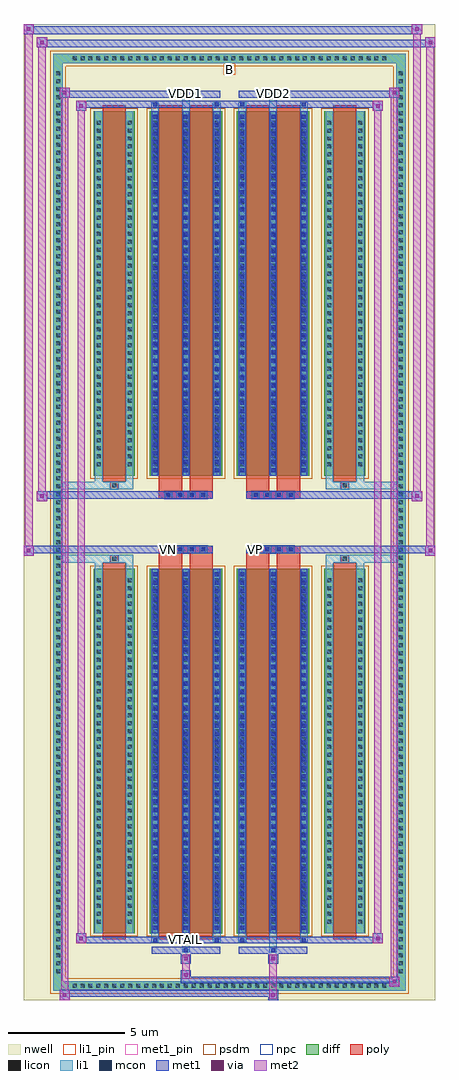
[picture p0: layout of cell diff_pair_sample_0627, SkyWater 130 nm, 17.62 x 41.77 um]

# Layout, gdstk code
import gdstk
lib = gdstk.Library(unit=1e-6, precision=5e-09)
def R(c, l, rs):  # rectangles x0, y0, x1, y1
    for r in rs: c.add(gdstk.rectangle(r[:2], r[2:], *l))
def A(c, l, x, y, w, h, nx, ny, dx, dy):  # array of equal rectangles
    R(c, l, [(x+i*dx, y+j*dy, x+i*dx+w, y+j*dy+h) for i in range(nx) for j in range(ny)])
def P(c, l, *ps):  # polygons
    for p in ps: c.add(gdstk.Polygon(p, *l))
nwell = (64, 20)
diff = (65, 20)
poly = (66, 20)
licon = (66, 44)
li1_pin = (67, 16)
li1 = (67, 20)
mcon = (67, 44)
met1_pin = (68, 16)
met1 = (68, 20)
via = (68, 44)
met2 = (69, 20)
psdm = (94, 20)
npc = (95, 20)

diff_pair_sample_0627 = lib.new_cell('diff_pair_sample_0627')
R(diff_pair_sample_0627, nwell, [(-8.81,-20.45,8.81,21.32), (-6.13,-18.64,-0.01,-0.8), (0.01,-18.64,6.13,-0.8), (-6.13,0.8,-0.01,18.64), (0.01,0.8,6.13,18.64)])
A(diff_pair_sample_0627, diff, -6.835, -20.05, 0.41, 0.41, 40, 2, 0.34, 39.69)
A(diff_pair_sample_0627, diff, -7.54, -19.415, 0.41, 0.41, 1, 114, 0, 0.34)
A(diff_pair_sample_0627, diff, 7.13, -19.415, 0.41, 0.41, 1, 114, 0, 0.34)
R(diff_pair_sample_0627, diff, [(-6.835,-20.05,6.835,-19.64), (-7.54,-19.415,-7.13,19.415), (7.13,-19.415,7.54,19.415), (-5.82,-17.595,-4.05,-1.985), (-3.41,-17.595,-0.32,-1.985), (0.32,-17.595,3.41,-1.985), (4.05,-17.595,5.82,-1.985), (-5.82,1.985,-4.05,17.595), (-3.41,1.985,-0.32,17.595), (0.32,1.985,3.41,17.595), (4.05,1.985,5.82,17.595), (-6.835,19.64,6.835,20.05)])
P(diff_pair_sample_0627, diff, [(7.54,20.05),(-7.54,20.05),(-7.54,-19.64),(-7.13,-19.64),(-7.13,19.64),(7.13,19.64),(7.13,-19.64),(-7.13,-19.64),(-7.54,-19.64),(-7.54,-20.05),(7.54,-20.05)])
A(diff_pair_sample_0627, poly, -2.78, -1.33, 0.33, 0.33, 4, 2, 0.5, 2.33)
A(diff_pair_sample_0627, poly, 0.95, -1.33, 0.33, 0.33, 4, 2, 0.5, 2.33)
R(diff_pair_sample_0627, poly, [(-5.43,-17.845,-4.44,-1.735), (-3.02,-17.845,-2.03,-1.735), (-1.7,-17.845,-0.71,-1.735), (0.71,-17.845,1.7,-1.735), (2.03,-17.845,3.02,-1.735), (4.44,-17.845,5.43,-1.735), (-5.1,-1.735,-4.77,-1.405), (-5.1,-1.735,-4.77,-1.405), (-3.02,-1.735,-2.03,-1.33), (-1.7,-1.735,-0.71,-1.33), (0.71,-1.735,1.7,-1.33), (2.03,-1.735,3.02,-1.33), (4.77,-1.735,5.1,-1.405), (4.77,-1.735,5.1,-1.405), (-3.02,-1.33,-0.71,-1), (0.71,-1.33,3.02,-1), (-3.02,1,-0.71,1.33), (0.71,1,3.02,1.33), (-3.02,1.33,-2.03,1.735), (-1.7,1.33,-0.71,1.735), (0.71,1.33,1.7,1.735), (2.03,1.33,3.02,1.735), (-5.1,1.405,-4.77,1.735), (-5.1,1.405,-4.77,1.735), (4.77,1.405,5.1,1.735), (4.77,1.405,5.1,1.735), (-5.43,1.735,-4.44,17.845), (-3.02,1.735,-2.03,17.845), (-1.7,1.735,-0.71,17.845), (0.71,1.735,1.7,17.845), (2.03,1.735,3.02,17.845), (4.44,1.735,5.43,17.845)])
A(diff_pair_sample_0627, licon, -6.715, -19.93, 0.17, 0.17, 40, 2, 0.34, 39.69)
A(diff_pair_sample_0627, licon, -7.42, -19.295, 0.17, 0.17, 1, 114, 0, 0.34)
A(diff_pair_sample_0627, licon, 7.25, -19.295, 0.17, 0.17, 1, 114, 0, 0.34)
A(diff_pair_sample_0627, licon, -5.68, -17.185, 0.17, 0.17, 1, 44, 0, 0.34)
A(diff_pair_sample_0627, licon, -4.36, -17.185, 0.17, 0.17, 1, 44, 0, 0.34)
A(diff_pair_sample_0627, licon, -3.27, -17.185, 0.17, 0.17, 3, 44, 1.32, 0.34)
A(diff_pair_sample_0627, licon, 0.46, -17.185, 0.17, 0.17, 3, 44, 1.32, 0.34)
A(diff_pair_sample_0627, licon, 4.19, -17.185, 0.17, 0.17, 1, 44, 0, 0.34)
A(diff_pair_sample_0627, licon, 5.51, -17.185, 0.17, 0.17, 1, 44, 0, 0.34)
A(diff_pair_sample_0627, licon, -2.7, -1.25, 0.17, 0.17, 4, 2, 0.5, 2.33)
A(diff_pair_sample_0627, licon, 1.03, -1.25, 0.17, 0.17, 4, 2, 0.5, 2.33)
A(diff_pair_sample_0627, licon, -5.68, 2.395, 0.17, 0.17, 1, 44, 0, 0.34)
A(diff_pair_sample_0627, licon, -4.36, 2.395, 0.17, 0.17, 1, 44, 0, 0.34)
A(diff_pair_sample_0627, licon, -3.27, 2.395, 0.17, 0.17, 3, 44, 1.32, 0.34)
A(diff_pair_sample_0627, licon, 0.46, 2.395, 0.17, 0.17, 3, 44, 1.32, 0.34)
A(diff_pair_sample_0627, licon, 4.19, 2.395, 0.17, 0.17, 1, 44, 0, 0.34)
A(diff_pair_sample_0627, licon, 5.51, 2.395, 0.17, 0.17, 1, 44, 0, 0.34)
R(diff_pair_sample_0627, licon, [(-5.02,-1.655,-4.85,-1.485), (4.85,-1.655,5.02,-1.485), (-5.02,1.485,-4.85,1.655), (4.85,1.485,5.02,1.655)])
R(diff_pair_sample_0627, li1_pin, [(-0.25,19.14,0.25,19.64)])
A(diff_pair_sample_0627, li1, -6.795, -20.01, 0.33, 0.33, 40, 2, 0.34, 39.69)
A(diff_pair_sample_0627, li1, -7.5, -19.375, 0.33, 0.33, 1, 114, 0, 0.34)
A(diff_pair_sample_0627, li1, 7.17, -19.375, 0.33, 0.33, 1, 114, 0, 0.34)
A(diff_pair_sample_0627, li1, -3.35, -17.595, 0.33, 15.61, 3, 2, 1.32, 19.58)
A(diff_pair_sample_0627, li1, 0.38, -17.595, 0.33, 15.61, 3, 2, 1.32, 19.58)
A(diff_pair_sample_0627, li1, -3.27, -17.435, 0.17, 0.17, 3, 43, 1.32, 0.36)
A(diff_pair_sample_0627, li1, -3.27, -17.435, 0.17, 15.29, 3, 2, 1.32, 19.58)
A(diff_pair_sample_0627, li1, 0.46, -17.435, 0.17, 0.17, 3, 43, 1.32, 0.36)
A(diff_pair_sample_0627, li1, 0.46, -17.435, 0.17, 15.29, 3, 2, 1.32, 19.58)
A(diff_pair_sample_0627, li1, -5.76, -17.265, 0.33, 0.33, 1, 44, 0, 0.34)
A(diff_pair_sample_0627, li1, -4.44, -17.265, 0.33, 0.33, 1, 44, 0, 0.34)
A(diff_pair_sample_0627, li1, -3.35, -17.265, 0.33, 0.33, 3, 44, 1.32, 0.34)
A(diff_pair_sample_0627, li1, 0.38, -17.265, 0.33, 0.33, 3, 44, 1.32, 0.34)
A(diff_pair_sample_0627, li1, 4.11, -17.265, 0.33, 0.33, 1, 44, 0, 0.34)
A(diff_pair_sample_0627, li1, 5.43, -17.265, 0.33, 0.33, 1, 44, 0, 0.34)
A(diff_pair_sample_0627, li1, -2.78, -1.33, 0.33, 0.33, 4, 2, 0.5, 2.33)
A(diff_pair_sample_0627, li1, 0.95, -1.33, 0.33, 0.33, 4, 2, 0.5, 2.33)
A(diff_pair_sample_0627, li1, -3.27, 2.145, 0.17, 0.17, 3, 43, 1.32, 0.36)
A(diff_pair_sample_0627, li1, 0.46, 2.145, 0.17, 0.17, 3, 43, 1.32, 0.36)
A(diff_pair_sample_0627, li1, -5.76, 2.315, 0.33, 0.33, 1, 44, 0, 0.34)
A(diff_pair_sample_0627, li1, -4.44, 2.315, 0.33, 0.33, 1, 44, 0, 0.34)
A(diff_pair_sample_0627, li1, -3.35, 2.315, 0.33, 0.33, 3, 44, 1.32, 0.34)
A(diff_pair_sample_0627, li1, 0.38, 2.315, 0.33, 0.33, 3, 44, 1.32, 0.34)
A(diff_pair_sample_0627, li1, 4.11, 2.315, 0.33, 0.33, 1, 44, 0, 0.34)
A(diff_pair_sample_0627, li1, 5.43, 2.315, 0.33, 0.33, 1, 44, 0, 0.34)
R(diff_pair_sample_0627, li1, [(-7.54,-20.05,-7.13,-19.64), (-7.54,-20.05,-7.13,-19.64), (-7.13,-20.05,7.13,-19.64), (7.13,-20.05,7.54,-19.64), (7.13,-20.05,7.54,-19.64), (-7.54,-19.64,-7.13,19.64), (7.13,-19.64,7.54,19.64), (-2.03,-18.4,-1.7,-17.595), (-1.95,-18.4,-1.78,-18.23), (1.7,-18.4,2.03,-17.595), (1.78,-18.4,1.95,-18.23), (-3.35,-17.97,-3.02,-17.595), (-3.27,-17.97,-3.1,-17.8), (-0.71,-17.97,-0.38,-17.595), (-0.63,-17.97,-0.46,-17.8), (0.38,-17.97,0.71,-17.595), (0.46,-17.97,0.63,-17.8), (3.02,-17.97,3.35,-17.595), (3.1,-17.97,3.27,-17.8), (-5.76,-17.595,-5.43,-1.985), (-4.44,-17.595,-4.11,-1.985), (4.11,-17.595,4.44,-1.985), (5.43,-17.595,5.76,-1.985), (-5.76,-1.985,-5.43,-1.405), (-4.44,-1.985,-4.11,-1.405), (4.11,-1.985,4.44,-1.405), (5.43,-1.985,5.76,-1.405), (-7.54,-1.735,-5.1,-1.405), (-5.76,-1.735,-5.1,-1.405), (-5.1,-1.735,-4.77,-1.405), (-4.77,-1.735,-4.11,-1.405), (4.11,-1.735,4.77,-1.405), (4.77,-1.735,5.1,-1.405), (4.77,-1.735,7.54,-1.405), (5.1,-1.735,5.76,-1.405), (-7.54,1.405,-5.1,1.735), (-5.76,1.405,-5.1,1.735), (-5.76,1.405,-5.43,1.985), (-5.1,1.405,-4.77,1.735), (-4.77,1.405,-4.11,1.735), (-4.44,1.405,-4.11,1.985), (4.11,1.405,4.77,1.735), (4.11,1.405,4.44,1.985), (4.77,1.405,5.1,1.735), (4.77,1.405,7.54,1.735), (5.1,1.405,5.76,1.735), (5.43,1.405,5.76,1.985), (-5.76,1.985,-5.43,17.595), (-4.44,1.985,-4.11,17.595), (4.11,1.985,4.44,17.595), (5.43,1.985,5.76,17.595), (-3.35,17.595,-3.02,17.97), (-2.03,17.595,-1.7,18.4), (-0.71,17.595,-0.38,17.97), (0.38,17.595,0.71,17.97), (1.7,17.595,2.03,18.4), (3.02,17.595,3.35,17.97), (-3.27,17.8,-3.1,17.97), (-0.63,17.8,-0.46,17.97), (0.46,17.8,0.63,17.97), (3.1,17.8,3.27,17.97), (-1.95,18.23,-1.78,18.4), (1.78,18.23,1.95,18.4), (-7.54,19.64,-7.13,20.05), (-7.54,19.64,-7.13,20.05), (-7.13,19.64,7.13,20.05), (7.13,19.64,7.54,20.05), (7.13,19.64,7.54,20.05)])
A(diff_pair_sample_0627, mcon, -3.27, -17.435, 0.17, 0.17, 3, 43, 1.32, 0.36)
A(diff_pair_sample_0627, mcon, 0.46, -17.435, 0.17, 0.17, 3, 43, 1.32, 0.36)
A(diff_pair_sample_0627, mcon, -2.7, -1.25, 0.17, 0.17, 4, 2, 0.5, 2.33)
A(diff_pair_sample_0627, mcon, 1.03, -1.25, 0.17, 0.17, 4, 2, 0.5, 2.33)
A(diff_pair_sample_0627, mcon, -3.27, 2.145, 0.17, 0.17, 3, 43, 1.32, 0.36)
A(diff_pair_sample_0627, mcon, 0.46, 2.145, 0.17, 0.17, 3, 43, 1.32, 0.36)
R(diff_pair_sample_0627, mcon, [(-1.95,-18.4,-1.78,-18.23), (1.78,-18.4,1.95,-18.23), (-3.27,-17.97,-3.1,-17.8), (-0.63,-17.97,-0.46,-17.8), (0.46,-17.97,0.63,-17.8), (3.1,-17.97,3.27,-17.8), (-3.27,17.8,-3.1,17.97), (-0.63,17.8,-0.46,17.97), (0.46,17.8,0.63,17.97), (3.1,17.8,3.27,17.97), (-1.95,18.23,-1.78,18.4), (1.78,18.23,1.95,18.4)])
R(diff_pair_sample_0627, met1_pin, [(-2,-18.01,-1.73,-17.74), (-2.75,-1.29,-2.48,-1.02), (0.98,-1.29,1.25,-1.02), (-2,18.19,-1.73,18.46), (1.73,18.19,2,18.46)])
A(diff_pair_sample_0627, met1, -3.33, -17.595, 0.29, 15.61, 3, 2, 1.32, 19.58)
A(diff_pair_sample_0627, met1, 0.4, -17.595, 0.29, 15.61, 3, 2, 1.32, 19.58)
A(diff_pair_sample_0627, met1, -3.33, -17.495, 0.29, 0.29, 3, 43, 1.32, 0.36)
A(diff_pair_sample_0627, met1, 0.4, -17.495, 0.29, 0.29, 3, 43, 1.32, 0.36)
A(diff_pair_sample_0627, met1, -2.76, -1.31, 0.29, 0.29, 4, 2, 0.5, 2.33)
A(diff_pair_sample_0627, met1, 0.97, -1.31, 0.29, 0.29, 4, 2, 0.5, 2.33)
A(diff_pair_sample_0627, met1, -3.33, 2.085, 0.29, 0.29, 3, 43, 1.32, 0.36)
A(diff_pair_sample_0627, met1, 0.4, 2.085, 0.29, 0.29, 3, 43, 1.32, 0.36)
R(diff_pair_sample_0627, met1, [(-7.27,-20.45,-6.84,-20.02), (1.65,-20.45,2.08,-20.02), (-7.27,-20.31,2.08,-20.02), (6.84,-19.88,7.27,-19.45), (-2.08,-19.74,7.27,-19.45), (-2.08,-19.6,-1.65,-19.17), (-2.08,-18.89,-1.65,-18.46), (1.65,-18.89,2.08,-18.46), (-3.33,-18.46,-0.4,-18.17), (-2.01,-18.46,-1.72,-18.17), (0.4,-18.46,3.33,-18.17), (1.72,-18.46,2.01,-18.17), (-6.56,-18.03,-6.13,-17.6), (-6.56,-18.03,-3.33,-17.74), (-3.33,-18.03,-3.04,-17.74), (-3.33,-18.03,-0.4,-17.74), (-0.69,-18.03,-0.4,-17.74), (-0.4,-18.03,0.4,-17.74), (0.4,-18.03,0.69,-17.74), (0.4,-18.03,3.33,-17.74), (3.04,-18.03,3.33,-17.74), (3.33,-18.03,6.56,-17.74), (6.13,-18.03,6.56,-17.6), (-8.81,-1.43,-8.38,-1), (8.38,-1.43,8.81,-1), (-8.81,-1.33,-0.71,-1), (-3.02,-1.33,-0.71,-1), (0.71,-1.33,3.02,-1), (0.71,-1.33,8.81,-1), (-8.24,0.9,-7.81,1.33), (7.81,0.9,8.24,1.33), (-8.24,1,-3.02,1.33), (-3.02,1,-0.71,1.33), (0.71,1,3.02,1.33), (3.02,1,8.24,1.33), (-6.56,17.6,-6.13,18.03), (6.13,17.6,6.56,18.03), (-6.56,17.74,-3.33,18.03), (-3.33,17.74,-3.04,18.03), (-3.33,17.74,-0.4,18.03), (-0.69,17.74,-0.4,18.03), (-0.4,17.74,0.4,18.03), (0.4,17.74,0.69,18.03), (0.4,17.74,3.33,18.03), (3.04,17.74,3.33,18.03), (3.33,17.74,6.56,18.03), (-7.27,18.17,-6.84,18.6), (-7.27,18.17,-3.33,18.46), (-3.33,18.17,-0.4,18.46), (-2.01,18.17,-1.72,18.46), (0.4,18.17,3.33,18.46), (1.72,18.17,2.01,18.46), (3.33,18.17,7.27,18.46), (6.84,18.17,7.27,18.6), (-8.24,20.32,-7.81,20.75), (-8.24,20.32,-6.13,20.65), (-6.13,20.32,6.13,20.65), (6.13,20.32,8.81,20.65), (8.38,20.32,8.81,20.75), (-8.81,20.89,-8.38,21.32), (-8.81,20.89,-6.13,21.22), (-6.13,20.89,6.13,21.22), (6.13,20.89,8.24,21.22), (7.81,20.89,8.24,21.32)])
R(diff_pair_sample_0627, via, [(-7.13,-20.31,-6.98,-20.16), (1.79,-20.31,1.94,-20.16), (6.98,-19.74,7.13,-19.59), (-1.94,-19.46,-1.79,-19.31), (-1.94,-18.75,-1.79,-18.6), (1.79,-18.75,1.94,-18.6), (-6.42,-17.89,-6.27,-17.74), (6.27,-17.89,6.42,-17.74), (-8.67,-1.29,-8.52,-1.14), (8.52,-1.29,8.67,-1.14), (-8.1,1.04,-7.95,1.19), (7.95,1.04,8.1,1.19), (-6.42,17.74,-6.27,17.89), (6.27,17.74,6.42,17.89), (-7.13,18.31,-6.98,18.46), (6.98,18.31,7.13,18.46), (-8.1,20.46,-7.95,20.61), (8.52,20.46,8.67,20.61), (-8.67,21.03,-8.52,21.18), (7.95,21.03,8.1,21.18)])
R(diff_pair_sample_0627, met2, [(-7.27,-20.45,-6.84,-20.02), (-7.2,-20.45,-6.91,18.6), (-6.91,-20.45,-6.84,-20.02), (-7.22,-20.4,-6.89,-20.07), (1.7,-20.4,2.03,-20.07), (1.7,-20.07,2.03,-18.84), (6.84,-19.88,7.27,-19.45), (6.91,-19.88,7.2,18.6), (7.2,-19.88,7.27,-19.45), (6.89,-19.83,7.22,-19.5), (-2.03,-19.55,-1.7,-19.22), (-2.03,-19.22,-1.7,-18.84), (-2.03,-18.84,-1.7,-18.51), (1.7,-18.84,2.03,-18.51), (-6.56,-18.03,-6.13,-17.6), (-6.49,-18.03,-6.2,18.03), (-6.2,-18.03,-6.13,-17.6), (6.13,-18.03,6.56,-17.6), (6.2,-18.03,6.49,18.03), (6.49,-18.03,6.56,-17.6), (-6.51,-17.98,-6.18,-17.65), (6.18,-17.98,6.51,-17.65), (-8.81,-1.43,-8.38,-1), (-8.76,-1.43,-8.43,21.32), (-8.43,-1.43,-8.38,-1), (8.38,-1.43,8.81,-1), (8.43,-1.43,8.76,20.75), (8.76,-1.43,8.81,-1), (-8.76,-1.38,-8.43,-1.05), (8.43,-1.38,8.76,-1.05), (-8.24,0.9,-7.81,1.33), (-8.19,0.9,-7.86,20.75), (-7.86,0.9,-7.81,1.33), (7.81,0.9,8.24,1.33), (7.86,0.9,8.19,21.32), (8.19,0.9,8.24,1.33), (-8.19,0.95,-7.86,1.28), (7.86,0.95,8.19,1.28), (-6.56,17.6,-6.13,18.03), (-6.2,17.6,-6.13,18.03), (6.13,17.6,6.56,18.03), (6.49,17.6,6.56,18.03), (-6.51,17.65,-6.18,17.98), (6.18,17.65,6.51,17.98), (-7.27,18.17,-6.84,18.6), (-6.91,18.17,-6.84,18.6), (6.84,18.17,7.27,18.6), (7.2,18.17,7.27,18.6), (-7.22,18.22,-6.89,18.55), (6.89,18.22,7.22,18.55), (-8.24,20.32,-7.81,20.75), (-7.86,20.32,-7.81,20.75), (8.38,20.32,8.81,20.75), (8.76,20.32,8.81,20.75), (-8.19,20.37,-7.86,20.7), (8.43,20.37,8.76,20.7), (-8.81,20.89,-8.38,21.32), (-8.43,20.89,-8.38,21.32), (7.81,20.89,8.24,21.32), (8.19,20.89,8.24,21.32), (-8.76,20.94,-8.43,21.27), (7.86,20.94,8.19,21.27)])
R(diff_pair_sample_0627, psdm, [(-5.95,-17.725,-3.92,-1.855), (-3.54,-17.725,-0.19,-1.855), (0.19,-17.725,3.54,-1.855), (3.92,-17.725,5.95,-1.855), (-5.95,1.855,-3.92,17.725), (-3.54,1.855,-0.19,17.725), (0.19,1.855,3.54,17.725), (3.92,1.855,5.95,17.725)])
P(diff_pair_sample_0627, psdm, [(7.67,20.18),(-7.67,20.18),(-7.67,-19.51),(-7,-19.51),(-7,19.51),(7,19.51),(7,-19.51),(-7,-19.51),(-7.67,-19.51),(-7.67,-20.18),(7.67,-20.18)])
A(diff_pair_sample_0627, npc, -2.8, -1.35, 0.37, 0.37, 4, 2, 0.5, 2.33)
A(diff_pair_sample_0627, npc, 0.93, -1.35, 0.37, 0.37, 4, 2, 0.5, 2.33)
R(diff_pair_sample_0627, npc, [(-5.12,-1.755,-4.75,-1.385), (4.75,-1.755,5.12,-1.385), (-2.8,-1.35,-1.93,-0.98), (-2.8,-1.35,-1.93,-0.98), (-2.3,-1.35,-1.43,-0.98), (-2.3,-1.35,-1.43,-0.98), (-1.8,-1.35,-0.93,-0.98), (-1.8,-1.35,-0.93,-0.98), (0.93,-1.35,1.8,-0.98), (0.93,-1.35,1.8,-0.98), (1.43,-1.35,2.3,-0.98), (1.43,-1.35,2.3,-0.98), (1.93,-1.35,2.8,-0.98), (1.93,-1.35,2.8,-0.98), (-2.8,0.98,-1.93,1.35), (-2.8,0.98,-1.93,1.35), (-2.3,0.98,-1.43,1.35), (-2.3,0.98,-1.43,1.35), (-1.8,0.98,-0.93,1.35), (-1.8,0.98,-0.93,1.35), (0.93,0.98,1.8,1.35), (0.93,0.98,1.8,1.35), (1.43,0.98,2.3,1.35), (1.43,0.98,2.3,1.35), (1.93,0.98,2.8,1.35), (1.93,0.98,2.8,1.35), (-5.12,1.385,-4.75,1.755), (4.75,1.385,5.12,1.755)])
diff_pair_sample_0627.add(gdstk.Label('VTAIL', (-1.865,-17.875), layer=68, texttype=5))
diff_pair_sample_0627.add(gdstk.Label('VN', (-2.615,-1.155), layer=68, texttype=5))
diff_pair_sample_0627.add(gdstk.Label('VP', (1.115,-1.155), layer=68, texttype=5))
diff_pair_sample_0627.add(gdstk.Label('B', (0,19.39), layer=67, texttype=5))
diff_pair_sample_0627.add(gdstk.Label('VDD2', (1.865,18.325), layer=68, texttype=5))
diff_pair_sample_0627.add(gdstk.Label('VDD1', (-1.865,18.325), layer=68, texttype=5))

lib.write_gds('diff_pair_sample_0627.gds')
